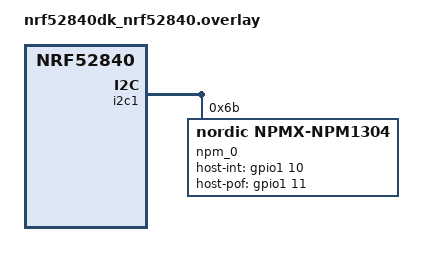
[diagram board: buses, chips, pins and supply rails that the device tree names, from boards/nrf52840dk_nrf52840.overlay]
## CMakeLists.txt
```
#
# Copyright (c) 2022 Nordic Semiconductor ASA
#
# SPDX-License-Identifier: BSD-3-Clause
#

cmake_minimum_required(VERSION 3.20.0)
find_package(Zephyr REQUIRED HINTS $ENV{ZEPHYR_BASE})
project(pmic_certification_fw)

FILE(GLOB app_sources src/*.c)
target_sources(app PRIVATE ${app_sources})
```

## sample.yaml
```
#
# Copyright (c) 2023 Nordic Semiconductor ASA
#
# SPDX-License-Identifier: BSD-3-Clause
#

sample:
  description: Simple sample
  name: Simple

common:
  integration_platforms:
    - nrf5340dk/nrf5340/cpuapp
    - nrf52840dk/nrf52840
  platform_allow:
    - nrf5340dk/nrf5340/cpuapp
    - nrf52840dk/nrf52840
  tags: pmic
  timeout: 30

tests:
  sample.simple:
    harness: console
    harness_config:
      fixture: nPM130x_setup
      type: multi_line
      regex:
        - "PMIC device OK."
```

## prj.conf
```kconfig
#
# Copyright (c) 2022-2023 Nordic Semiconductor ASA
#
# SPDX-License-Identifier: BSD-3-Clause
#

CONFIG_STDOUT_CONSOLE=y

CONFIG_I2C=y
CONFIG_GPIO=y
CONFIG_NPMX=y
CONFIG_LOG=y
CONFIG_NPMX_LOG_LEVEL_DBG=y
CONFIG_SHELL=y
CONFIG_ASSERT=y
```

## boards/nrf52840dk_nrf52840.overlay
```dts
/*
 * Copyright (c) 2023 Nordic Semiconductor ASA
 *
 * SPDX-License-Identifier: BSD-3-Clause
 */

&i2c1 {
	compatible = "nordic,nrf-twim";
	status = "okay";

	npm_0: npm1304@6b {
		status = "okay";
		compatible = "nordic,npmx-npm1304";
		reg = <0x6b>;
		host-int-gpios = <&gpio1 10 (GPIO_PULL_DOWN | GPIO_ACTIVE_HIGH)>;
		pmic-int-pin = <0>;
		host-pof-gpios = <&gpio1 11 (GPIO_PULL_DOWN | GPIO_ACTIVE_HIGH)>;
		pmic-pof-pin = <1>;

	};
};

&i2c1_default {
	group1 {
		psels = <NRF_PSEL(TWIM_SDA, 0, 26)>, <NRF_PSEL(TWIM_SCL, 0, 27)>;
		bias-pull-up;
	};
};
```

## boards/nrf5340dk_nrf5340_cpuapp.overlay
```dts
/*
 * Copyright (c) 2023 Nordic Semiconductor ASA
 *
 * SPDX-License-Identifier: BSD-3-Clause
 */

&i2c1 {
	compatible = "nordic,nrf-twim";
	status = "okay";

	npm_0: npm1300@6b {
		status = "okay";
		compatible = "nordic,npmx-npm1300";
		reg = <0x6b>;
		host-int-gpios = <&gpio1 10 (GPIO_PULL_DOWN | GPIO_ACTIVE_HIGH)>;
		pmic-int-pin = <0>;
		host-pof-gpios = <&gpio1 11 (GPIO_PULL_DOWN | GPIO_ACTIVE_HIGH)>;
		pmic-pof-pin = <1>;

	};
};

&i2c1_default {
	group1 {
		bias-pull-up;
	};
};
```

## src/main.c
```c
/*
 * Copyright (c) 2022-2023 Nordic Semiconductor ASA
 *
 * SPDX-License-Identifier: BSD-3-Clause
 */

#include <zephyr/logging/log.h>
#include <zephyr/kernel.h>
#include <npmx_adc.h>
#include <npmx_charger.h>
#include <npmx_core.h>
#include <npmx_driver.h>

#define LOG_MODULE_NAME simple
LOG_MODULE_REGISTER(LOG_MODULE_NAME);

/**
 * @brief Callback function to be used when VBUSIN THERMAL event occurs.
 *
 * @param[in] p_pm Pointer to the instance of PMIC device.
 * @param[in] type Callback type. Should be @ref NPMX_CALLBACK_TYPE_EVENT_VBUSIN_THERMAL_USB.
 * @param[in] mask Received event interrupt mask.
 */
void vbusin_thermal_callback(npmx_instance_t *p_pm, npmx_callback_type_t type, uint8_t mask)
{
	npmx_vbusin_cc_t cc1;
	npmx_vbusin_cc_t cc2;
	npmx_vbusin_t *p_vbusin = npmx_vbusin_get(p_pm, 0);

	/* Get the status of CC lines. */
	if (npmx_vbusin_cc_status_get(p_vbusin, &cc1, &cc2) == NPMX_SUCCESS) {
		static npmx_vbusin_current_t vbusin_current_limits[] = {
			[NPMX_VBUSIN_CC_DEFAULT] = NPMX_VBUSIN_CURRENT_500_MA,
			[NPMX_VBUSIN_CC_HIGH_POWER_1A5] = NPMX_VBUSIN_CURRENT_1500_MA,
			[NPMX_VBUSIN_CC_HIGH_POWER_3A0] = NPMX_VBUSIN_CURRENT_1500_MA,
		};

		if (cc1 != NPMX_VBUSIN_CC_NOT_CONNECTED) {
			npmx_vbusin_current_limit_set(p_vbusin, vbusin_current_limits[cc1]);

		} else if (cc2 != NPMX_VBUSIN_CC_NOT_CONNECTED) {
			npmx_vbusin_current_limit_set(p_vbusin, vbusin_current_limits[cc2]);
		}
		npmx_vbusin_task_trigger(p_vbusin, NPMX_VBUSIN_TASK_APPLY_CURRENT_LIMIT);

		LOG_INF("CC1: %s.", npmx_vbusin_cc_status_map_to_string(cc1));
		LOG_INF("CC2: %s.", npmx_vbusin_cc_status_map_to_string(cc2));
	} else {
		LOG_ERR("Unable to read CC lines status.");
	}
}

int main(void)
{
	const struct device *pmic_dev = DEVICE_DT_GET(DT_NODELABEL(npm_0));

	if (!device_is_ready(pmic_dev)) {
		LOG_INF("PMIC device is not ready.");
		return 0;
	}

	LOG_INF("PMIC device OK.");

	/* Get pointer to npmx device. */
	npmx_instance_t *npmx_instance = npmx_driver_instance_get(pmic_dev);

	/* Get pointer to charger instance. */
	npmx_charger_t *charger_instance = npmx_charger_get(npmx_instance, 0);

	/* Register callback for VBUSIN thermal event used for detecting CC lines status. */
	npmx_core_register_cb(npmx_instance, vbusin_thermal_callback,
			      NPMX_EVENT_GROUP_VBUSIN_THERMAL);

	/* Enable detecting if CC status changed. */
	npmx_core_event_interrupt_enable(npmx_instance, NPMX_EVENT_GROUP_VBUSIN_THERMAL,
					 NPMX_EVENT_GROUP_USB_CC1_MASK |
						 NPMX_EVENT_GROUP_USB_CC2_MASK);

	/* Disable charger before changing charging current. */
	npmx_charger_module_disable_set(charger_instance, NPMX_CHARGER_MODULE_CHARGER_MASK);

	/* Set termination voltage and charging current. */
	npmx_charger_termination_normal_voltage_set(charger_instance, NPMX_CHARGER_VOLTAGE_4V20);
	npmx_charger_charging_current_set(charger_instance, 800);

	/* Enable charger for events handling. */
	npmx_charger_module_enable_set(charger_instance,
				       NPMX_CHARGER_MODULE_CHARGER_MASK |
					       NPMX_CHARGER_MODULE_RECHARGE_MASK |
					       NPMX_CHARGER_MODULE_NTC_LIMITS_MASK);

	/* Set LEDs. */
	npmx_led_mode_set(npmx_led_get(npmx_instance, 0), NPMX_LED_MODE_CHARGING);
	npmx_led_mode_set(npmx_led_get(npmx_instance, 1), NPMX_LED_MODE_ERROR);
	npmx_led_mode_set(npmx_led_get(npmx_instance, 2), NPMX_LED_MODE_NOTUSED);

	npmx_adc_ntc_config_t ntc_config = { .type = NPMX_ADC_NTC_TYPE_10_K, .beta = 0 };

	/* Set thermistor type for charger module NTC. Beta value is not used. */
	npmx_adc_ntc_config_set(npmx_adc_get(npmx_instance, 0), &ntc_config);

	while (1) {
		k_sleep(K_FOREVER);
	}

	return 0;
}
```
